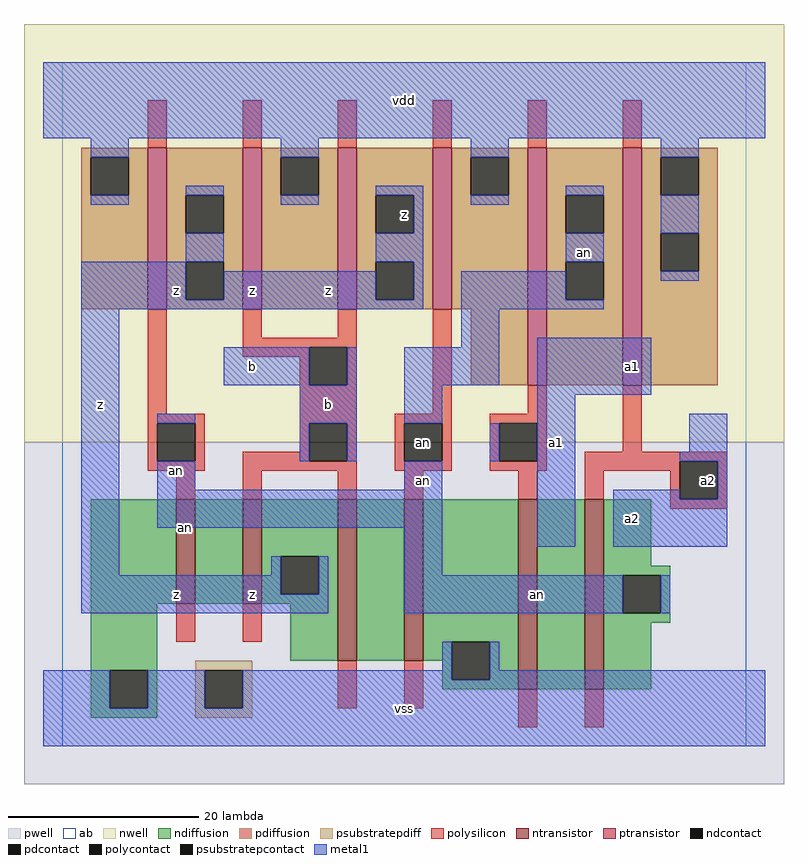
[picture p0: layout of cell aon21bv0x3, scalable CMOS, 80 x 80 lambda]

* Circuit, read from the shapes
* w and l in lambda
.subckt aon21bv0x3 a1 a2 an b vdd vss z
M1 n1 an vss vss nfet w=11 l=2
M2 z b n1 vss nfet w=11 l=2
M3 n2 b z vss nfet w=17 l=2
M4 vss an n2 vss nfet w=17 l=2
M5 n3 a1 vss vss nfet w=20 l=2
M6 an a2 n3 vss nfet w=20 l=2
M7 z an vdd n4 pfet w=17 l=2 m=2
M8 vdd b z n4 pfet w=17 l=2 m=2
M9 an a1 vdd n4 pfet w=25 l=2
M10 vdd a2 an n4 pfet w=25 l=2
.ends

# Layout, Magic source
magic
tech scmos
<< ab >>
rect 0 0 72 72
<< pwell >>
rect -4 -4 76 32
<< nwell >>
rect -4 32 76 76
<< polysilicon >>
rect 9 63 11 68
rect 19 63 21 68
rect 29 63 31 68
rect 39 63 41 68
rect 49 63 51 68
rect 59 63 61 68
rect 9 35 11 46
rect 19 43 21 46
rect 29 43 31 46
rect 19 42 31 43
rect 19 41 26 42
rect 25 38 26 41
rect 30 38 31 42
rect 9 34 15 35
rect 9 30 10 34
rect 14 30 15 34
rect 25 34 31 38
rect 39 35 41 46
rect 49 35 51 38
rect 25 31 26 34
rect 9 29 15 30
rect 19 30 26 31
rect 30 30 31 34
rect 19 29 31 30
rect 35 34 41 35
rect 35 30 36 34
rect 40 30 41 34
rect 35 29 41 30
rect 45 34 51 35
rect 45 30 46 34
rect 50 30 51 34
rect 59 31 61 38
rect 45 29 51 30
rect 55 30 70 31
rect 55 29 65 30
rect 12 26 14 29
rect 19 26 21 29
rect 29 26 31 29
rect 36 26 38 29
rect 48 26 50 29
rect 55 26 57 29
rect 64 26 65 29
rect 69 26 70 30
rect 12 11 14 15
rect 19 11 21 15
rect 29 4 31 9
rect 36 4 38 9
rect 64 25 70 26
rect 48 2 50 6
rect 55 2 57 6
<< ndiffusion >>
rect 3 15 12 26
rect 14 15 19 26
rect 21 20 29 26
rect 21 16 23 20
rect 27 16 29 20
rect 21 15 29 16
rect 3 8 10 15
rect 24 9 29 15
rect 31 9 36 26
rect 38 11 48 26
rect 38 9 41 11
rect 3 4 5 8
rect 9 4 10 8
rect 3 3 10 4
rect 40 7 41 9
rect 45 7 48 11
rect 40 6 48 7
rect 50 6 55 26
rect 57 19 62 26
rect 57 18 64 19
rect 57 14 59 18
rect 63 14 64 18
rect 57 13 64 14
rect 57 6 62 13
<< pdiffusion >>
rect 2 62 9 63
rect 2 58 3 62
rect 7 58 9 62
rect 2 46 9 58
rect 11 58 19 63
rect 11 54 13 58
rect 17 54 19 58
rect 11 51 19 54
rect 11 47 13 51
rect 17 47 19 51
rect 11 46 19 47
rect 21 62 29 63
rect 21 58 23 62
rect 27 58 29 62
rect 21 46 29 58
rect 31 58 39 63
rect 31 54 33 58
rect 37 54 39 58
rect 31 51 39 54
rect 31 47 33 51
rect 37 47 39 51
rect 31 46 39 47
rect 41 62 49 63
rect 41 58 43 62
rect 47 58 49 62
rect 41 46 49 58
rect 43 38 49 46
rect 51 58 59 63
rect 51 54 53 58
rect 57 54 59 58
rect 51 51 59 54
rect 51 47 53 51
rect 57 47 59 51
rect 51 38 59 47
rect 61 62 69 63
rect 61 58 63 62
rect 67 58 69 62
rect 61 54 69 58
rect 61 50 63 54
rect 67 50 69 54
rect 61 38 69 50
<< metal1 >>
rect -2 64 74 72
rect 3 62 7 64
rect 23 62 27 64
rect 3 57 7 58
rect 13 58 17 59
rect 43 62 47 64
rect 23 57 27 58
rect 33 58 38 59
rect 13 51 17 54
rect 2 47 13 51
rect 37 54 38 58
rect 63 62 67 64
rect 43 57 47 58
rect 53 58 57 59
rect 33 51 38 54
rect 17 47 33 50
rect 37 47 38 51
rect 53 51 57 54
rect 2 46 38 47
rect 42 47 53 50
rect 63 54 67 58
rect 63 49 67 50
rect 42 46 57 47
rect 2 18 6 46
rect 42 42 46 46
rect 17 38 26 42
rect 30 38 31 42
rect 10 34 14 35
rect 25 34 31 38
rect 25 30 26 34
rect 30 30 31 34
rect 36 38 46 42
rect 36 34 40 38
rect 50 37 62 43
rect 45 30 46 34
rect 10 27 14 30
rect 36 27 40 30
rect 10 23 40 27
rect 22 18 23 20
rect 2 16 23 18
rect 27 16 28 20
rect 2 14 28 16
rect 36 18 40 23
rect 50 21 54 37
rect 66 31 70 35
rect 65 30 70 31
rect 58 26 65 27
rect 69 26 70 30
rect 58 21 70 26
rect 36 14 59 18
rect 63 14 64 18
rect 40 8 41 11
rect -2 4 5 8
rect 9 4 15 8
rect 19 7 41 8
rect 45 8 46 11
rect 45 7 74 8
rect 19 4 74 7
rect -2 0 74 4
<< ntransistor >>
rect 12 15 14 26
rect 19 15 21 26
rect 29 9 31 26
rect 36 9 38 26
rect 48 6 50 26
rect 55 6 57 26
<< ptransistor >>
rect 9 46 11 63
rect 19 46 21 63
rect 29 46 31 63
rect 39 46 41 63
rect 49 38 51 63
rect 59 38 61 63
<< polycontact >>
rect 26 38 30 42
rect 10 30 14 34
rect 26 30 30 34
rect 36 30 40 34
rect 46 30 50 34
rect 65 26 69 30
<< ndcontact >>
rect 23 16 27 20
rect 5 4 9 8
rect 41 7 45 11
rect 59 14 63 18
<< pdcontact >>
rect 3 58 7 62
rect 13 54 17 58
rect 13 47 17 51
rect 23 58 27 62
rect 33 54 37 58
rect 33 47 37 51
rect 43 58 47 62
rect 53 54 57 58
rect 53 47 57 51
rect 63 58 67 62
rect 63 50 67 54
<< psubstratepcontact >>
rect 15 4 19 8
<< psubstratepdiff >>
rect 14 8 20 9
rect 14 4 15 8
rect 19 4 20 8
rect 14 3 20 4
<< labels >>
rlabel ntransistor 13 23 13 23 6 an
rlabel polycontact 38 32 38 32 6 an
rlabel metal1 4 36 4 36 6 z
rlabel metal1 20 16 20 16 6 z
rlabel metal1 12 16 12 16 6 z
rlabel metal1 12 29 12 29 6 an
rlabel metal1 20 40 20 40 6 b
rlabel metal1 12 48 12 48 6 z
rlabel metal1 20 48 20 48 6 z
rlabel metal1 36 4 36 4 6 vss
rlabel metal1 38 28 38 28 6 an
rlabel metal1 28 36 28 36 6 b
rlabel metal1 28 48 28 48 6 z
rlabel pdcontact 36 56 36 56 6 z
rlabel metal1 36 68 36 68 6 vdd
rlabel metal1 52 32 52 32 6 a1
rlabel metal1 55 52 55 52 6 an
rlabel metal1 50 16 50 16 6 an
rlabel metal1 60 24 60 24 6 a2
rlabel polycontact 68 28 68 28 6 a2
rlabel metal1 60 40 60 40 6 a1
<< end >>
